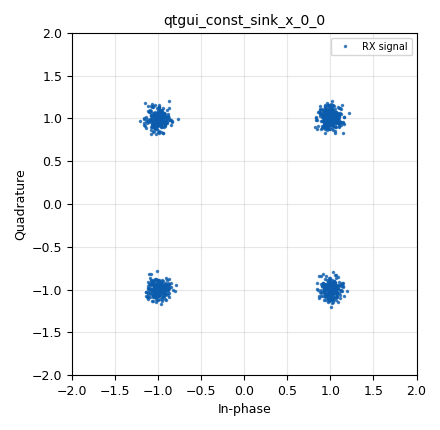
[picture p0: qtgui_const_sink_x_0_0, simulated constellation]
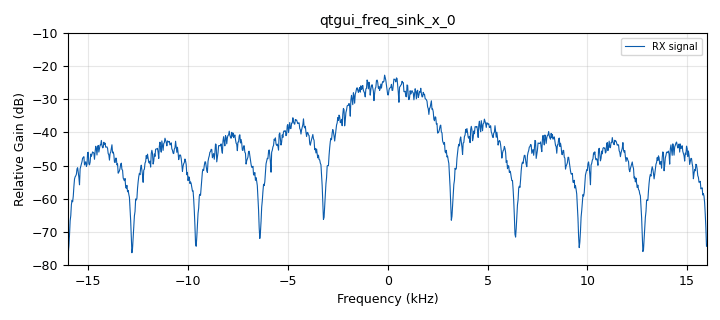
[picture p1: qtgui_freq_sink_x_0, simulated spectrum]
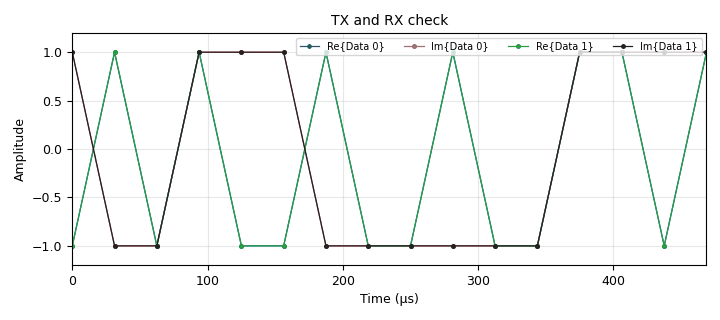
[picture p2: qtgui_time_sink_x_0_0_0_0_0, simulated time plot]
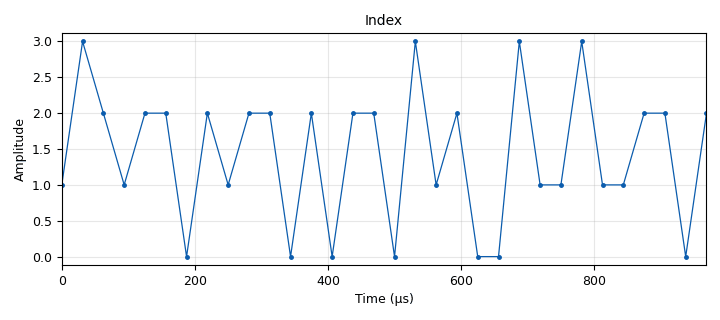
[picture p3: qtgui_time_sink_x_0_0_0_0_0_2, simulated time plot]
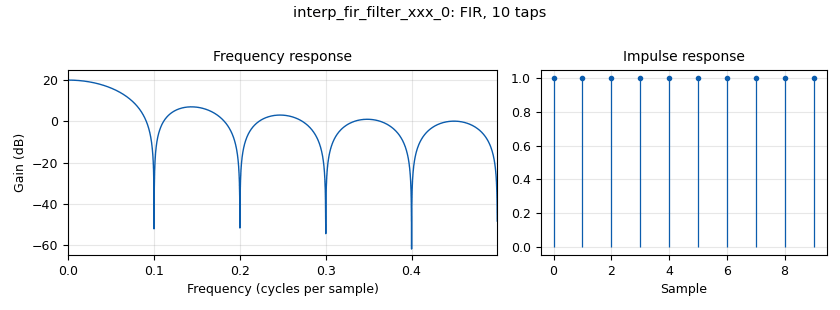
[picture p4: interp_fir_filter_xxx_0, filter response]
<?xml version='1.0' encoding='utf-8'?>
<?grc format='1' created='3.7.11'?>
<flow_graph>
<block>
<key>options</key>
<param><key>id</key><value>top_block</value></param>
<param><key>generate_options</key><value>qt_gui</value></param>
<param><key>title</key><value>Complex envelope modem</value></param>
</block>
<block>
<key>variable_qtgui_range</key>
<param><key>id</key><value>noise_amplitude</value></param>
<param><key>value</key><value>0.1</value></param>
<param><key>gui_hint</key><value>0,0,1,1</value></param>
<param><key>label</key><value>Noise amplitude</value></param>
<param><key>orient</key><value>Qt.Horizontal</value></param>
<param><key>start</key><value>0</value></param>
<param><key>step</key><value>0.01</value></param>
<param><key>stop</key><value>1</value></param>
</block>
<block>
<key>variable</key>
<param><key>id</key><value>samp_rate</value></param>
<param><key>value</key><value>32000*1</value></param>
</block>
<block>
<key>analog_const_source_x</key>
<param><key>id</key><value>analog_const_source_x_0</value></param>
<param><key>const</key><value>10</value></param>
<param><key>_enabled</key><value>0</value></param>
<param><key>type</key><value>complex</value></param>
</block>
<block>
<key>analog_fastnoise_source_x</key>
<param><key>id</key><value>analog_fastnoise_source_x_0</value></param>
<param><key>amp</key><value>noise_amplitude</value></param>
<param><key>noise_type</key><value>analog.GR_GAUSSIAN</value></param>
<param><key>type</key><value>complex</value></param>
<param><key>seed</key><value>0</value></param>
<param><key>samples</key><value>8192</value></param>
</block>
<block>
<key>analog_random_source_x</key>
<param><key>id</key><value>analog_random_source_x_0</value></param>
<param><key>max</key><value>4</value></param>
<param><key>min</key><value>0</value></param>
<param><key>num_samps</key><value>1024*100</value></param>
<param><key>type</key><value>int</value></param>
<param><key>repeat</key><value>True</value></param>
</block>
<block>
<key>blocks_add_xx</key>
<param><key>id</key><value>blocks_add_xx_0</value></param>
<param><key>type</key><value>complex</value></param>
</block>
<block>
<key>blocks_add_xx</key>
<param><key>id</key><value>blocks_add_xx_1</value></param>
<param><key>type</key><value>float</value></param>
</block>
<block>
<key>blocks_add_xx</key>
<param><key>id</key><value>blocks_add_xx_1_0</value></param>
<param><key>type</key><value>float</value></param>
</block>
<block>
<key>blocks_add_xx</key>
<param><key>id</key><value>blocks_add_xx_1_0_0</value></param>
<param><key>type</key><value>float</value></param>
</block>
<block>
<key>blocks_add_xx</key>
<param><key>id</key><value>blocks_add_xx_1_0_0_0</value></param>
<param><key>type</key><value>float</value></param>
</block>
<block>
<key>blocks_argmax_xx</key>
<param><key>id</key><value>blocks_argmax_xx_0</value></param>
<param><key>type</key><value>float</value></param>
<param><key>num_inputs</key><value>4</value></param>
</block>
<block>
<key>blocks_complex_to_real</key>
<param><key>id</key><value>blocks_complex_to_real_0</value></param>
</block>
<block>
<key>blocks_complex_to_real</key>
<param><key>id</key><value>blocks_complex_to_real_0_0</value></param>
</block>
<block>
<key>blocks_divide_xx</key>
<param><key>id</key><value>blocks_divide_xx_0</value></param>
<param><key>_enabled</key><value>0</value></param>
<param><key>type</key><value>complex</value></param>
</block>
<block>
<key>blocks_float_to_complex</key>
<param><key>id</key><value>blocks_float_to_complex_0</value></param>
<param><key>_enabled</key><value>0</value></param>
</block>
<block>
<key>blocks_integrate_xx</key>
<param><key>id</key><value>blocks_integrate_xx_0</value></param>
<param><key>decim</key><value>10</value></param>
<param><key>type</key><value>complex</value></param>
</block>
<block>
<key>blocks_integrate_xx</key>
<param><key>id</key><value>blocks_integrate_xx_0_0</value></param>
<param><key>decim</key><value>10</value></param>
<param><key>type</key><value>complex</value></param>
</block>
<block>
<key>blocks_multiply_const_vxx</key>
<param><key>id</key><value>blocks_multiply_const_vxx_0</value></param>
<param><key>const</key><value>0+1j</value></param>
<param><key>type</key><value>complex</value></param>
</block>
<block>
<key>blocks_multiply_const_vxx</key>
<param><key>id</key><value>blocks_multiply_const_vxx_0_0_0_0</value></param>
<param><key>const</key><value>-1</value></param>
<param><key>_enabled</key><value>0</value></param>
<param><key>type</key><value>float</value></param>
</block>
<block>
<key>blocks_multiply_const_vxx</key>
<param><key>id</key><value>blocks_multiply_const_vxx_1</value></param>
<param><key>const</key><value>-1</value></param>
<param><key>type</key><value>float</value></param>
</block>
<block>
<key>blocks_multiply_const_vxx</key>
<param><key>id</key><value>blocks_multiply_const_vxx_1_0</value></param>
<param><key>const</key><value>-1</value></param>
<param><key>type</key><value>float</value></param>
</block>
<block>
<key>blocks_multiply_const_vxx</key>
<param><key>id</key><value>blocks_multiply_const_vxx_1_1</value></param>
<param><key>const</key><value>-1</value></param>
<param><key>type</key><value>float</value></param>
</block>
<block>
<key>blocks_multiply_const_vxx</key>
<param><key>id</key><value>blocks_multiply_const_vxx_1_1_0</value></param>
<param><key>const</key><value>-1</value></param>
<param><key>type</key><value>float</value></param>
</block>
<block>
<key>blocks_multiply_const_vxx</key>
<param><key>id</key><value>blocks_multiply_const_vxx_1_2</value></param>
<param><key>const</key><value>1</value></param>
<param><key>type</key><value>float</value></param>
</block>
<block>
<key>blocks_multiply_const_vxx</key>
<param><key>id</key><value>blocks_multiply_const_vxx_1_2_0</value></param>
<param><key>const</key><value>1</value></param>
<param><key>type</key><value>float</value></param>
</block>
<block>
<key>blocks_multiply_const_vxx</key>
<param><key>id</key><value>blocks_multiply_const_vxx_1_2_0_0</value></param>
<param><key>const</key><value>1</value></param>
<param><key>type</key><value>float</value></param>
</block>
<block>
<key>blocks_multiply_const_vxx</key>
<param><key>id</key><value>blocks_multiply_const_vxx_1_2_0_1</value></param>
<param><key>const</key><value>1</value></param>
<param><key>type</key><value>float</value></param>
</block>
<block>
<key>blocks_null_sink</key>
<param><key>id</key><value>blocks_null_sink_0</value></param>
<param><key>bus_conns</key><value>[[0,],]</value></param>
<param><key>type</key><value>short</value></param>
</block>
<block>
<key>blocks_short_to_float</key>
<param><key>id</key><value>blocks_short_to_float_0</value></param>
<param><key>scale</key><value>1</value></param>
</block>
<block>
<key>blocks_throttle</key>
<param><key>id</key><value>blocks_throttle_0</value></param>
<param><key>samples_per_second</key><value>samp_rate</value></param>
<param><key>type</key><value>int</value></param>
</block>
<block>
<key>blocks_throttle</key>
<param><key>id</key><value>blocks_throttle_0_0</value></param>
<param><key>_enabled</key><value>0</value></param>
<param><key>samples_per_second</key><value>samp_rate</value></param>
<param><key>type</key><value>complex</value></param>
</block>
<block>
<key>blocks_vector_source_x</key>
<param><key>id</key><value>blocks_vector_source_x_0</value></param>
<param><key>_enabled</key><value>0</value></param>
<param><key>type</key><value>complex</value></param>
<param><key>repeat</key><value>True</value></param>
<param><key>vector</key><value>(1+1j, 1-1j, -1+1j, -1-1j)</value></param>
</block>
<block>
<key>digital_chunks_to_symbols_xx</key>
<param><key>id</key><value>digital_chunks_to_symbols_xx_0</value></param>
<param><key>dimension</key><value>1</value></param>
<param><key>in_type</key><value>int</value></param>
<param><key>out_type</key><value>complex</value></param>
<param><key>symbol_table</key><value>[1+1j, 1-1j, -1+1j, -1-1j]</value></param>
</block>
<block>
<key>digital_chunks_to_symbols_xx</key>
<param><key>id</key><value>digital_chunks_to_symbols_xx_0_0</value></param>
<param><key>dimension</key><value>1</value></param>
<param><key>in_type</key><value>short</value></param>
<param><key>out_type</key><value>complex</value></param>
<param><key>symbol_table</key><value>[-1+1j, -1-1j,1+1j, 1-1j]</value></param>
</block>
<block>
<key>interp_fir_filter_xxx</key>
<param><key>id</key><value>interp_fir_filter_xxx_0</value></param>
<param><key>comment</key><value>BW = fs / interpolating_factor = 32k / 10 = 3.2k</value></param>
<param><key>interp</key><value>10</value></param>
<param><key>taps</key><value>[1, 1, 1, 1, 1, 1, 1, 1, 1, 1]</value></param>
<param><key>type</key><value>ccc</value></param>
</block>
<block>
<key>qtgui_const_sink_x</key>
<param><key>id</key><value>qtgui_const_sink_x_0</value></param>
<param><key>_enabled</key><value>0</value></param>
<param><key>gui_hint</key><value>1,1,1,1</value></param>
<param><key>grid</key><value>True</value></param>
<param><key>size</key><value>1024</value></param>
<param><key>type</key><value>complex</value></param>
</block>
<block>
<key>qtgui_const_sink_x</key>
<param><key>id</key><value>qtgui_const_sink_x_0_0</value></param>
<param><key>gui_hint</key><value>1,1,2,1</value></param>
<param><key>grid</key><value>True</value></param>
<param><key>label1</key><value>RX signal</value></param>
<param><key>size</key><value>1024</value></param>
<param><key>type</key><value>complex</value></param>
</block>
<block>
<key>qtgui_freq_sink_x</key>
<param><key>id</key><value>qtgui_freq_sink_x_0</value></param>
<param><key>average</key><value>0.05</value></param>
<param><key>bw</key><value>samp_rate</value></param>
<param><key>fc</key><value>0</value></param>
<param><key>fftsize</key><value>1024</value></param>
<param><key>gui_hint</key><value>1,0,2,1</value></param>
<param><key>grid</key><value>True</value></param>
<param><key>label1</key><value>RX signal</value></param>
<param><key>showports</key><value>True</value></param>
<param><key>type</key><value>complex</value></param>
<param><key>wintype</key><value>firdes.WIN_BLACKMAN_hARRIS</value></param>
<param><key>ymax</key><value>-10</value></param>
<param><key>ymin</key><value>-80</value></param>
</block>
<block>
<key>qtgui_time_sink_x</key>
<param><key>id</key><value>qtgui_time_sink_x_0_0_0_0_0</value></param>
<param><key>gui_hint</key><value>3,0,1,2</value></param>
<param><key>grid</key><value>True</value></param>
<param><key>color1</key><value>"blue"</value></param>
<param><key>label1</key><value></value></param>
<param><key>marker1</key><value>0</value></param>
<param><key>color2</key><value>"red"</value></param>
<param><key>label2</key><value></value></param>
<param><key>marker2</key><value>0</value></param>
<param><key>color3</key><value>"green"</value></param>
<param><key>label3</key><value></value></param>
<param><key>marker3</key><value>0</value></param>
<param><key>color4</key><value>"black"</value></param>
<param><key>label4</key><value></value></param>
<param><key>marker4</key><value>0</value></param>
<param><key>name</key><value>TX and RX check</value></param>
<param><key>nconnections</key><value>2</value></param>
<param><key>size</key><value>16</value></param>
<param><key>srate</key><value>samp_rate</value></param>
<param><key>type</key><value>complex</value></param>
<param><key>ymax</key><value>1.2</value></param>
<param><key>ymin</key><value>-1.2</value></param>
</block>
<block>
<key>qtgui_time_sink_x</key>
<param><key>id</key><value>qtgui_time_sink_x_0_0_0_0_0_0</value></param>
<param><key>_enabled</key><value>0</value></param>
<param><key>gui_hint</key><value>2,0,1,2</value></param>
<param><key>grid</key><value>True</value></param>
<param><key>color1</key><value>"blue"</value></param>
<param><key>label1</key><value></value></param>
<param><key>marker1</key><value>0</value></param>
<param><key>color2</key><value>"red"</value></param>
<param><key>label2</key><value></value></param>
<param><key>marker2</key><value>0</value></param>
<param><key>color3</key><value>"green"</value></param>
<param><key>label3</key><value></value></param>
<param><key>marker3</key><value>0</value></param>
<param><key>color4</key><value>"black"</value></param>
<param><key>label4</key><value></value></param>
<param><key>marker4</key><value>0</value></param>
<param><key>name</key><value>Final</value></param>
<param><key>nconnections</key><value>2</value></param>
<param><key>size</key><value>16</value></param>
<param><key>srate</key><value>samp_rate</value></param>
<param><key>type</key><value>complex</value></param>
<param><key>ymax</key><value>1.5</value></param>
<param><key>ymin</key><value>-1.5</value></param>
</block>
<block>
<key>qtgui_time_sink_x</key>
<param><key>id</key><value>qtgui_time_sink_x_0_0_0_0_0_1</value></param>
<param><key>autoscale</key><value>True</value></param>
<param><key>_enabled</key><value>0</value></param>
<param><key>gui_hint</key><value>4,0,1,2</value></param>
<param><key>grid</key><value>True</value></param>
<param><key>color1</key><value>"blue"</value></param>
<param><key>label1</key><value></value></param>
<param><key>marker1</key><value>0</value></param>
<param><key>color2</key><value>"red"</value></param>
<param><key>label2</key><value></value></param>
<param><key>marker2</key><value>0</value></param>
<param><key>color3</key><value>"green"</value></param>
<param><key>label3</key><value></value></param>
<param><key>marker3</key><value>0</value></param>
<param><key>color4</key><value>"black"</value></param>
<param><key>label4</key><value></value></param>
<param><key>marker4</key><value>0</value></param>
<param><key>name</key><value>Zs</value></param>
<param><key>nconnections</key><value>4</value></param>
<param><key>size</key><value>16</value></param>
<param><key>srate</key><value>samp_rate</value></param>
<param><key>type</key><value>float</value></param>
<param><key>ymax</key><value>1.2</value></param>
<param><key>ymin</key><value>-1.2</value></param>
</block>
<block>
<key>qtgui_time_sink_x</key>
<param><key>id</key><value>qtgui_time_sink_x_0_0_0_0_0_2</value></param>
<param><key>gui_hint</key><value>5,0,1,2</value></param>
<param><key>grid</key><value>True</value></param>
<param><key>color1</key><value>"blue"</value></param>
<param><key>label1</key><value></value></param>
<param><key>marker1</key><value>0</value></param>
<param><key>name</key><value>Index</value></param>
<param><key>size</key><value>32</value></param>
<param><key>srate</key><value>samp_rate</value></param>
<param><key>type</key><value>float</value></param>
<param><key>ymax</key><value>3</value></param>
<param><key>ymin</key><value>0</value></param>
</block>
<block>
<key>virtual_sink</key>
<param><key>id</key><value>virtual_sink_0</value></param>
<param><key>stream_id</key><value>RX signal</value></param>
</block>
<block>
<key>virtual_sink</key>
<param><key>id</key><value>virtual_sink_0_0</value></param>
<param><key>_enabled</key><value>0</value></param>
<param><key>stream_id</key><value>TX sample</value></param>
</block>
<block>
<key>virtual_sink</key>
<param><key>id</key><value>virtual_sink_0_0_0</value></param>
<param><key>stream_id</key><value>TX sample</value></param>
</block>
<block>
<key>virtual_sink</key>
<param><key>id</key><value>virtual_sink_0_1</value></param>
<param><key>stream_id</key><value>TX signal</value></param>
</block>
<block>
<key>virtual_sink</key>
<param><key>id</key><value>virtual_sink_0_2</value></param>
<param><key>stream_id</key><value>y1</value></param>
</block>
<block>
<key>virtual_sink</key>
<param><key>id</key><value>virtual_sink_0_2_0</value></param>
<param><key>stream_id</key><value>y2</value></param>
</block>
<block>
<key>virtual_sink</key>
<param><key>id</key><value>virtual_sink_0_2_0_0</value></param>
<param><key>stream_id</key><value>z2</value></param>
</block>
<block>
<key>virtual_sink</key>
<param><key>id</key><value>virtual_sink_0_2_0_0_0</value></param>
<param><key>stream_id</key><value>z4</value></param>
</block>
<block>
<key>virtual_sink</key>
<param><key>id</key><value>virtual_sink_0_2_1</value></param>
<param><key>stream_id</key><value>z1</value></param>
</block>
<block>
<key>virtual_sink</key>
<param><key>id</key><value>virtual_sink_0_2_1_0</value></param>
<param><key>stream_id</key><value>z3</value></param>
</block>
<block>
<key>virtual_source</key>
<param><key>id</key><value>virtual_source_0</value></param>
<param><key>stream_id</key><value>RX signal</value></param>
</block>
<block>
<key>virtual_source</key>
<param><key>id</key><value>virtual_source_0_0</value></param>
<param><key>stream_id</key><value>TX sample</value></param>
</block>
<block>
<key>virtual_source</key>
<param><key>id</key><value>virtual_source_0_0_0</value></param>
<param><key>_enabled</key><value>0</value></param>
<param><key>stream_id</key><value>TX sample</value></param>
</block>
<block>
<key>virtual_source</key>
<param><key>id</key><value>virtual_source_0_1</value></param>
<param><key>stream_id</key><value>TX signal</value></param>
</block>
<block>
<key>virtual_source</key>
<param><key>id</key><value>virtual_source_0_1_0</value></param>
<param><key>stream_id</key><value>TX signal</value></param>
</block>
<block>
<key>virtual_source</key>
<param><key>id</key><value>virtual_source_0_2</value></param>
<param><key>_enabled</key><value>0</value></param>
<param><key>stream_id</key><value>y1</value></param>
</block>
<block>
<key>virtual_source</key>
<param><key>id</key><value>virtual_source_0_2_0</value></param>
<param><key>_enabled</key><value>0</value></param>
<param><key>stream_id</key><value>y2</value></param>
</block>
<block>
<key>virtual_source</key>
<param><key>id</key><value>virtual_source_0_2_0_0</value></param>
<param><key>stream_id</key><value>y2</value></param>
</block>
<block>
<key>virtual_source</key>
<param><key>id</key><value>virtual_source_0_2_0_0_0</value></param>
<param><key>stream_id</key><value>z2</value></param>
</block>
<block>
<key>virtual_source</key>
<param><key>id</key><value>virtual_source_0_2_0_0_0_0</value></param>
<param><key>stream_id</key><value>z4</value></param>
</block>
<block>
<key>virtual_source</key>
<param><key>id</key><value>virtual_source_0_2_0_0_0_0_0</value></param>
<param><key>_enabled</key><value>0</value></param>
<param><key>stream_id</key><value>z4</value></param>
</block>
<block>
<key>virtual_source</key>
<param><key>id</key><value>virtual_source_0_2_0_0_0_1</value></param>
<param><key>_enabled</key><value>0</value></param>
<param><key>stream_id</key><value>z2</value></param>
</block>
<block>
<key>virtual_source</key>
<param><key>id</key><value>virtual_source_0_2_0_0_1</value></param>
<param><key>stream_id</key><value>y2</value></param>
</block>
<block>
<key>virtual_source</key>
<param><key>id</key><value>virtual_source_0_2_0_0_2</value></param>
<param><key>stream_id</key><value>y2</value></param>
</block>
<block>
<key>virtual_source</key>
<param><key>id</key><value>virtual_source_0_2_0_0_3</value></param>
<param><key>stream_id</key><value>y2</value></param>
</block>
<block>
<key>virtual_source</key>
<param><key>id</key><value>virtual_source_0_2_1</value></param>
<param><key>stream_id</key><value>y1</value></param>
</block>
<block>
<key>virtual_source</key>
<param><key>id</key><value>virtual_source_0_2_1_0</value></param>
<param><key>stream_id</key><value>z1</value></param>
</block>
<block>
<key>virtual_source</key>
<param><key>id</key><value>virtual_source_0_2_1_0_0</value></param>
<param><key>stream_id</key><value>z3</value></param>
</block>
<block>
<key>virtual_source</key>
<param><key>id</key><value>virtual_source_0_2_1_0_0_0</value></param>
<param><key>_enabled</key><value>0</value></param>
<param><key>stream_id</key><value>z3</value></param>
</block>
<block>
<key>virtual_source</key>
<param><key>id</key><value>virtual_source_0_2_1_0_1</value></param>
<param><key>_enabled</key><value>0</value></param>
<param><key>stream_id</key><value>z1</value></param>
</block>
<block>
<key>virtual_source</key>
<param><key>id</key><value>virtual_source_0_2_1_1</value></param>
<param><key>stream_id</key><value>y1</value></param>
</block>
<block>
<key>virtual_source</key>
<param><key>id</key><value>virtual_source_0_2_1_2</value></param>
<param><key>stream_id</key><value>y1</value></param>
</block>
<block>
<key>virtual_source</key>
<param><key>id</key><value>virtual_source_0_2_1_3</value></param>
<param><key>stream_id</key><value>y1</value></param>
</block>
<connection><source_block_id>analog_const_source_x_0</source_block_id><sink_block_id>blocks_divide_xx_0</sink_block_id><source_key>0</source_key><sink_key>1</sink_key></connection>
<connection><source_block_id>analog_fastnoise_source_x_0</source_block_id><sink_block_id>blocks_add_xx_0</sink_block_id><source_key>0</source_key><sink_key>1</sink_key></connection>
<connection><source_block_id>analog_random_source_x_0</source_block_id><sink_block_id>blocks_throttle_0</sink_block_id><source_key>0</source_key><sink_key>0</sink_key></connection>
<connection><source_block_id>blocks_add_xx_0</source_block_id><sink_block_id>qtgui_const_sink_x_0_0</sink_block_id><source_key>0</source_key><sink_key>0</sink_key></connection>
<connection><source_block_id>blocks_add_xx_0</source_block_id><sink_block_id>virtual_sink_0</sink_block_id><source_key>0</source_key><sink_key>0</sink_key></connection>
<connection><source_block_id>blocks_add_xx_1</source_block_id><sink_block_id>virtual_sink_0_2_0_0_0</sink_block_id><source_key>0</source_key><sink_key>0</sink_key></connection>
<connection><source_block_id>blocks_add_xx_1_0</source_block_id><sink_block_id>virtual_sink_0_2_1_0</sink_block_id><source_key>0</source_key><sink_key>0</sink_key></connection>
<connection><source_block_id>blocks_add_xx_1_0_0</source_block_id><sink_block_id>virtual_sink_0_2_0_0</sink_block_id><source_key>0</source_key><sink_key>0</sink_key></connection>
<connection><source_block_id>blocks_add_xx_1_0_0_0</source_block_id><sink_block_id>virtual_sink_0_2_1</sink_block_id><source_key>0</source_key><sink_key>0</sink_key></connection>
<connection><source_block_id>blocks_argmax_xx_0</source_block_id><sink_block_id>blocks_short_to_float_0</sink_block_id><source_key>1</source_key><sink_key>0</sink_key></connection>
<connection><source_block_id>blocks_argmax_xx_0</source_block_id><sink_block_id>digital_chunks_to_symbols_xx_0_0</sink_block_id><source_key>1</source_key><sink_key>0</sink_key></connection>
<connection><source_block_id>blocks_argmax_xx_0</source_block_id><sink_block_id>blocks_null_sink_0</sink_block_id><source_key>0</source_key><sink_key>0</sink_key></connection>
<connection><source_block_id>blocks_complex_to_real_0</source_block_id><sink_block_id>virtual_sink_0_2</sink_block_id><source_key>0</source_key><sink_key>0</sink_key></connection>
<connection><source_block_id>blocks_complex_to_real_0_0</source_block_id><sink_block_id>virtual_sink_0_2_0</sink_block_id><source_key>0</source_key><sink_key>0</sink_key></connection>
<connection><source_block_id>blocks_divide_xx_0</source_block_id><sink_block_id>qtgui_const_sink_x_0</sink_block_id><source_key>0</source_key><sink_key>0</sink_key></connection>
<connection><source_block_id>blocks_divide_xx_0</source_block_id><sink_block_id>qtgui_time_sink_x_0_0_0_0_0_0</sink_block_id><source_key>0</source_key><sink_key>1</sink_key></connection>
<connection><source_block_id>blocks_float_to_complex_0</source_block_id><sink_block_id>blocks_divide_xx_0</sink_block_id><source_key>0</source_key><sink_key>0</sink_key></connection>
<connection><source_block_id>blocks_integrate_xx_0</source_block_id><sink_block_id>blocks_complex_to_real_0</sink_block_id><source_key>0</source_key><sink_key>0</sink_key></connection>
<connection><source_block_id>blocks_integrate_xx_0_0</source_block_id><sink_block_id>blocks_complex_to_real_0_0</sink_block_id><source_key>0</source_key><sink_key>0</sink_key></connection>
<connection><source_block_id>blocks_multiply_const_vxx_0</source_block_id><sink_block_id>blocks_integrate_xx_0_0</sink_block_id><source_key>0</source_key><sink_key>0</sink_key></connection>
<connection><source_block_id>blocks_multiply_const_vxx_0_0_0_0</source_block_id><sink_block_id>blocks_float_to_complex_0</sink_block_id><source_key>0</source_key><sink_key>1</sink_key></connection>
<connection><source_block_id>blocks_multiply_const_vxx_1</source_block_id><sink_block_id>blocks_add_xx_1_0_0</sink_block_id><source_key>0</source_key><sink_key>0</sink_key></connection>
<connection><source_block_id>blocks_multiply_const_vxx_1_0</source_block_id><sink_block_id>blocks_add_xx_1_0</sink_block_id><source_key>0</source_key><sink_key>1</sink_key></connection>
<connection><source_block_id>blocks_multiply_const_vxx_1_1</source_block_id><sink_block_id>blocks_add_xx_1_0_0_0</sink_block_id><source_key>0</source_key><sink_key>0</sink_key></connection>
<connection><source_block_id>blocks_multiply_const_vxx_1_1_0</source_block_id><sink_block_id>blocks_add_xx_1_0_0_0</sink_block_id><source_key>0</source_key><sink_key>1</sink_key></connection>
<connection><source_block_id>blocks_multiply_const_vxx_1_2</source_block_id><sink_block_id>blocks_add_xx_1_0_0</sink_block_id><source_key>0</source_key><sink_key>1</sink_key></connection>
<connection><source_block_id>blocks_multiply_const_vxx_1_2_0</source_block_id><sink_block_id>blocks_add_xx_1_0</sink_block_id><source_key>0</source_key><sink_key>0</sink_key></connection>
<connection><source_block_id>blocks_multiply_const_vxx_1_2_0_0</source_block_id><sink_block_id>blocks_add_xx_1</sink_block_id><source_key>0</source_key><sink_key>0</sink_key></connection>
<connection><source_block_id>blocks_multiply_const_vxx_1_2_0_1</source_block_id><sink_block_id>blocks_add_xx_1</sink_block_id><source_key>0</source_key><sink_key>1</sink_key></connection>
<connection><source_block_id>blocks_short_to_float_0</source_block_id><sink_block_id>qtgui_time_sink_x_0_0_0_0_0_2</sink_block_id><source_key>0</source_key><sink_key>0</sink_key></connection>
<connection><source_block_id>blocks_throttle_0</source_block_id><sink_block_id>digital_chunks_to_symbols_xx_0</sink_block_id><source_key>0</source_key><sink_key>0</sink_key></connection>
<connection><source_block_id>blocks_throttle_0_0</source_block_id><sink_block_id>interp_fir_filter_xxx_0</sink_block_id><source_key>0</source_key><sink_key>0</sink_key></connection>
<connection><source_block_id>blocks_vector_source_x_0</source_block_id><sink_block_id>blocks_throttle_0_0</sink_block_id><source_key>0</source_key><sink_key>0</sink_key></connection>
<connection><source_block_id>blocks_vector_source_x_0</source_block_id><sink_block_id>virtual_sink_0_0</sink_block_id><source_key>0</source_key><sink_key>0</sink_key></connection>
<connection><source_block_id>digital_chunks_to_symbols_xx_0</source_block_id><sink_block_id>interp_fir_filter_xxx_0</sink_block_id><source_key>0</source_key><sink_key>0</sink_key></connection>
<connection><source_block_id>digital_chunks_to_symbols_xx_0</source_block_id><sink_block_id>virtual_sink_0_0_0</sink_block_id><source_key>0</source_key><sink_key>0</sink_key></connection>
<connection><source_block_id>digital_chunks_to_symbols_xx_0_0</source_block_id><sink_block_id>qtgui_time_sink_x_0_0_0_0_0</sink_block_id><source_key>0</source_key><sink_key>1</sink_key></connection>
<connection><source_block_id>interp_fir_filter_xxx_0</source_block_id><sink_block_id>virtual_sink_0_1</sink_block_id><source_key>0</source_key><sink_key>0</sink_key></connection>
<connection><source_block_id>virtual_source_0</source_block_id><sink_block_id>blocks_integrate_xx_0</sink_block_id><source_key>0</source_key><sink_key>0</sink_key></connection>
<connection><source_block_id>virtual_source_0</source_block_id><sink_block_id>blocks_multiply_const_vxx_0</sink_block_id><source_key>0</source_key><sink_key>0</sink_key></connection>
<connection><source_block_id>virtual_source_0_0</source_block_id><sink_block_id>qtgui_time_sink_x_0_0_0_0_0</sink_block_id><source_key>0</source_key><sink_key>0</sink_key></connection>
<connection><source_block_id>virtual_source_0_0_0</source_block_id><sink_block_id>qtgui_time_sink_x_0_0_0_0_0_0</sink_block_id><source_key>0</source_key><sink_key>0</sink_key></connection>
<connection><source_block_id>virtual_source_0_1</source_block_id><sink_block_id>blocks_add_xx_0</sink_block_id><source_key>0</source_key><sink_key>0</sink_key></connection>
<connection><source_block_id>virtual_source_0_1_0</source_block_id><sink_block_id>qtgui_freq_sink_x_0</sink_block_id><source_key>0</source_key><sink_key>0</sink_key></connection>
<connection><source_block_id>virtual_source_0_2</source_block_id><sink_block_id>blocks_float_to_complex_0</sink_block_id><source_key>0</source_key><sink_key>0</sink_key></connection>
<connection><source_block_id>virtual_source_0_2_0</source_block_id><sink_block_id>blocks_multiply_const_vxx_0_0_0_0</sink_block_id><source_key>0</source_key><sink_key>0</sink_key></connection>
<connection><source_block_id>virtual_source_0_2_0_0</source_block_id><sink_block_id>blocks_multiply_const_vxx_1_2</sink_block_id><source_key>0</source_key><sink_key>0</sink_key></connection>
<connection><source_block_id>virtual_source_0_2_0_0_0</source_block_id><sink_block_id>blocks_argmax_xx_0</sink_block_id><source_key>0</source_key><sink_key>1</sink_key></connection>
<connection><source_block_id>virtual_source_0_2_0_0_0_0</source_block_id><sink_block_id>blocks_argmax_xx_0</sink_block_id><source_key>0</source_key><sink_key>3</sink_key></connection>
<connection><source_block_id>virtual_source_0_2_0_0_0_0_0</source_block_id><sink_block_id>qtgui_time_sink_x_0_0_0_0_0_1</sink_block_id><source_key>0</source_key><sink_key>3</sink_key></connection>
<connection><source_block_id>virtual_source_0_2_0_0_0_1</source_block_id><sink_block_id>qtgui_time_sink_x_0_0_0_0_0_1</sink_block_id><source_key>0</source_key><sink_key>1</sink_key></connection>
<connection><source_block_id>virtual_source_0_2_0_0_1</source_block_id><sink_block_id>blocks_multiply_const_vxx_1_2_0_1</sink_block_id><source_key>0</source_key><sink_key>0</sink_key></connection>
<connection><source_block_id>virtual_source_0_2_0_0_2</source_block_id><sink_block_id>blocks_multiply_const_vxx_1_0</sink_block_id><source_key>0</source_key><sink_key>0</sink_key></connection>
<connection><source_block_id>virtual_source_0_2_0_0_3</source_block_id><sink_block_id>blocks_multiply_const_vxx_1_1_0</sink_block_id><source_key>0</source_key><sink_key>0</sink_key></connection>
<connection><source_block_id>virtual_source_0_2_1</source_block_id><sink_block_id>blocks_multiply_const_vxx_1</sink_block_id><source_key>0</source_key><sink_key>0</sink_key></connection>
<connection><source_block_id>virtual_source_0_2_1_0</source_block_id><sink_block_id>blocks_argmax_xx_0</sink_block_id><source_key>0</source_key><sink_key>0</sink_key></connection>
<connection><source_block_id>virtual_source_0_2_1_0_0</source_block_id><sink_block_id>blocks_argmax_xx_0</sink_block_id><source_key>0</source_key><sink_key>2</sink_key></connection>
<connection><source_block_id>virtual_source_0_2_1_0_0_0</source_block_id><sink_block_id>qtgui_time_sink_x_0_0_0_0_0_1</sink_block_id><source_key>0</source_key><sink_key>2</sink_key></connection>
<connection><source_block_id>virtual_source_0_2_1_0_1</source_block_id><sink_block_id>qtgui_time_sink_x_0_0_0_0_0_1</sink_block_id><source_key>0</source_key><sink_key>0</sink_key></connection>
<connection><source_block_id>virtual_source_0_2_1_1</source_block_id><sink_block_id>blocks_multiply_const_vxx_1_2_0_0</sink_block_id><source_key>0</source_key><sink_key>0</sink_key></connection>
<connection><source_block_id>virtual_source_0_2_1_2</source_block_id><sink_block_id>blocks_multiply_const_vxx_1_2_0</sink_block_id><source_key>0</source_key><sink_key>0</sink_key></connection>
<connection><source_block_id>virtual_source_0_2_1_3</source_block_id><sink_block_id>blocks_multiply_const_vxx_1_1</sink_block_id><source_key>0</source_key><sink_key>0</sink_key></connection>
</flow_graph>
